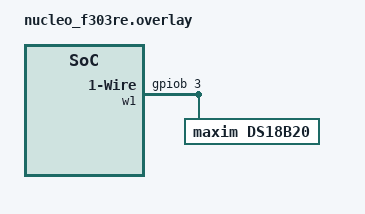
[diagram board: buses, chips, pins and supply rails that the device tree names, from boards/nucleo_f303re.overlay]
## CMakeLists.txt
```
cmake_minimum_required(VERSION 3.22)
set(BOARD nucleo_f303re)

find_package(Zephyr)
project(DS18B20_GPIO)

target_sources(app PRIVATE src/main.c)
```

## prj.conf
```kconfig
CONFIG_SENSOR=y
CONFIG_W1=y
CONFIG_LOG=y
CONFIG_SENSOR_LOG_LEVEL_DBG=y
```

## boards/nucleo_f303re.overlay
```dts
/ {
      w1: w1 {
             compatible = "zephyr,w1-gpio";
            gpios = <&gpiob 3 (GPIO_ACTIVE_HIGH | GPIO_OPEN_DRAIN | GPIO_PULL_UP)>;

            ds18b20 {
			compatible = "maxim,ds18b20";
			family-code = <0x28>;
			resolution = <12>;
			status = "okay";
		};
       };
};
```

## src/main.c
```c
#include <zephyr/kernel.h>
#include <zephyr/device.h>
#include <zephyr/devicetree.h>
#include <zephyr/drivers/sensor.h>

const static struct device *const tempProbeDev = DEVICE_DT_GET_ANY(maxim_ds18b20);;

int TempProbeInit()
{
	if (tempProbeDev == NULL) {
		printk("\nError: no device found.\n");
		return -1;
	}

	if (!device_is_ready(tempProbeDev)) {
		printk("\nError: Device \"%s\" is not ready \n", tempProbeDev->name);
		return -1;
	}

	return 0;
}

void GetTempVal()
{
		int res;
		struct sensor_value temp;

		res = sensor_sample_fetch(tempProbeDev);

		if (res != 0) {
			printk("sample_fetch() failed: %d\n", res);
		}

		res = sensor_channel_get(tempProbeDev, SENSOR_CHAN_AMBIENT_TEMP, &temp);
		if (res != 0) {
			printk("channel_get() failed: %d\n", res);
		}
		printk("Temp: %d.%06d\n", temp.val1, temp.val2);
}


int main(void)
{

	if(TempProbeInit() == -1)
	{
		return -1;
	}

	while (true) {
		GetTempVal();
		k_sleep(K_MSEC(500));
	}

	return 0;
}
```
